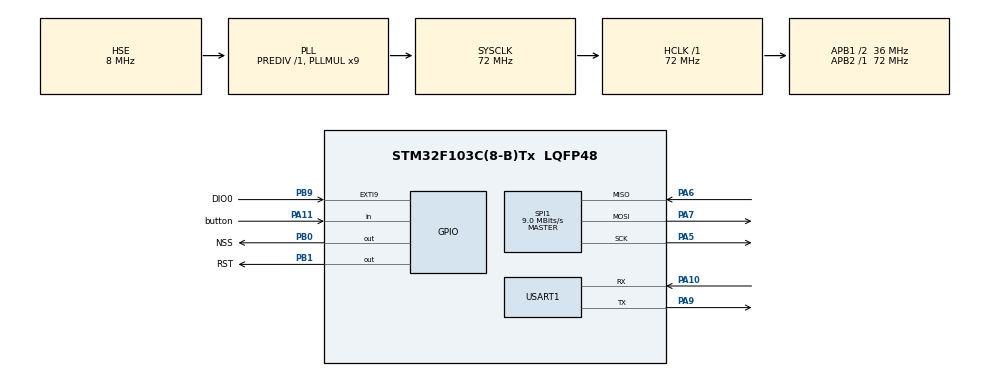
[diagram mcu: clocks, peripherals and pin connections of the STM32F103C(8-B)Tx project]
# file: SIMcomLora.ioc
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FREERTOS.BinarySemaphores01=myBinarySeminterrup,Dynamic,NULL,Depleted
FREERTOS.CountingSemaphores01=myCountingSem01,3,Dynamic,NULL,0;myCountingSem02,3,Dynamic,NULL,0
FREERTOS.Queues01=myQueue01,16,uint16_t,0,Dynamic,NULL,NULL;myQueue02,16,my_Queuedata_t,0,Dynamic,NULL,NULL
FREERTOS.Tasks01=DefaultTask,24,128,StartDefaultTask,Default,NULL,Dynamic,NULL,NULL;LowTask02,8,128,StartTask02,Default,NULL,Dynamic,NULL,NULL;HighTask03,35,128,StartTask03,Default,NULL,Dynamic,NULL,NULL;interruptTask,40,128,StartinterruptTask,Default,NULL,Dynamic,NULL,NULL
FREERTOS.configTOTAL_HEAP_SIZE=3072
FREERTOS.configUSE_NEWLIB_REENTRANT=1
Mcu.Family=STM32F1
Mcu.Name=STM32F103C(8-B)Tx
Mcu.Package=LQFP48
NVIC.EXTI9_5_IRQn=true\:5\:0\:false\:false\:true\:true\:true\:true\:true
NVIC.PriorityGroup=NVIC_PRIORITYGROUP_4
NVIC.TIM1_UP_IRQn=true\:15\:0\:false\:false\:true\:false\:false\:true\:true
NVIC.TimeBase=TIM1_UP_IRQn
NVIC.TimeBaseIP=TIM1
PA0-WKUP.Mode=SYS_WakeUp0
PA0-WKUP.Signal=SYS_WKUP
PA10.Mode=Asynchronous
PA10.Signal=USART1_RX
PA11.GPIO_Label=button
PA11.GPIO_Mode=GPIO_MODE_INPUT
PA11.Signal=GPIO_Input
PA13.Mode=Serial_Wire
PA13.Signal=SYS_JTMS-SWDIO
PA14.Mode=Serial_Wire
PA14.Signal=SYS_JTCK-SWCLK
PA5.Mode=Full_Duplex_Master
PA5.Signal=SPI1_SCK
PA6.Mode=Full_Duplex_Master
PA6.Signal=SPI1_MISO
PA7.Mode=Full_Duplex_Master
PA7.Signal=SPI1_MOSI
PA9.Mode=Asynchronous
PA9.Signal=USART1_TX
PB0.GPIO_Label=NSS
PB0.PinState=GPIO_PIN_SET
PB0.Signal=GPIO_Output
PB1.GPIO_Label=RST
PB1.PinState=GPIO_PIN_SET
PB1.Signal=GPIO_Output
PB9.GPIO_Label=DIO0
PB9.GPIO_ModeDefaultEXTI=GPIO_MODE_IT_FALLING
PB9.GPIO_PuPd=GPIO_PULLUP
PB9.Signal=GPXTI9
PD0-OSC_IN.Mode=HSE-External-Oscillator
PD0-OSC_IN.Signal=RCC_OSC_IN
PD1-OSC_OUT.Mode=HSE-External-Oscillator
PD1-OSC_OUT.Signal=RCC_OSC_OUT
ProjectManager.HeapSize=0x200
ProjectManager.StackSize=0x400
ProjectManager.TargetToolchain=STM32CubeIDE
RCC.AHBFreq_Value=72000000
RCC.APB1CLKDivider=RCC_HCLK_DIV2
RCC.APB1Freq_Value=36000000
RCC.APB1TimFreq_Value=72000000
RCC.APB2Freq_Value=72000000
RCC.APB2TimFreq_Value=72000000
RCC.HCLKFreq_Value=72000000
RCC.PLLMUL=RCC_PLL_MUL9
RCC.PLLSourceVirtual=RCC_PLLSOURCE_HSE
RCC.SYSCLKFreq_VALUE=72000000
RCC.SYSCLKSource=RCC_SYSCLKSOURCE_PLLCLK
RCC.USBFreq_Value=72000000
SPI1.BaudRatePrescaler=SPI_BAUDRATEPRESCALER_8
SPI1.CalculateBaudRate=9.0 MBits/s
SPI1.Direction=SPI_DIRECTION_2LINES
SPI1.Mode=SPI_MODE_MASTER
SPI1.VirtualType=VM_MASTER
USART1.VirtualMode=VM_ASYNC
VP_FREERTOS_VS_CMSIS_V2.Mode=CMSIS_V2
VP_SYS_VS_tim1.Mode=TIM1
board=custom

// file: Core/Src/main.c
/* USER CODE BEGIN Header */
/**
  ******************************************************************************
  * @file           : main.c
  * @brief          : Main program body
  ******************************************************************************
  * @attention
  *
  * Copyright (c) 2025 STMicroelectronics.
  * All rights reserved.
  *
  * This software is licensed under terms that can be found in the LICENSE file
  * in the root directory of this software component.
  * If no LICENSE file comes with this software, it is provided AS-IS.
  *
  ******************************************************************************
  */
/* USER CODE END Header */
#include "main.h"
#include "cmsis_os.h"

/* USER CODE BEGIN Includes */
#include"stdio.h"
#include"string.h"
#include"LoRa.h"
/* USER CODE END Includes */

/* USER CODE BEGIN PTD */
#define MQTT_BROKER "thingsboard.cloud"
#define MQTT_PORT 1883
#define client_ID "t6xqg0v96t1p9wtc9l2l"// Id của divices Thingsboard
#define User_name "13f8dni4utb650o7aduh"//User_name của divices Thingsboard
#define Pass "c0cu7lr7fbntrqkfok6k"// Pass của divices Thingsboard
char  Topic[50]= "v1/devices/me/telemetry";
uint16_t count=0;
uint8_t data[]="hello";
uint8_t dataRX;
uint8_t buff[50];
char dataID[100];
uint8_t dataRxloRa;
uint8_t dataSent[]="hello";
char data_json[50];
uint8_t temperature=35;
uint8_t humidity=65;
osStatus_t status1;
osStatus_t status2;
LoRa myLoRa;
uint8_t Lora_status;
uint8_t ID= '1';
typedef struct {
	uint16_t data;
	uint16_t ID;
}my_Queuedata_t;

/* USER CODE END PTD */

SPI_HandleTypeDef hspi1;

UART_HandleTypeDef huart1;

/* Definitions for DefaultTask */
osThreadId_t DefaultTaskHandle;
const osThreadAttr_t DefaultTask_attributes = {
  .name = "DefaultTask",
  .stack_size = 128 * 4,
  .priority = (osPriority_t) osPriorityNormal,
};
/* Definitions for LowTask02 */
osThreadId_t LowTask02Handle;
const osThreadAttr_t LowTask02_attributes = {
  .name = "LowTask02",
  .stack_size = 128 * 4,
  .priority = (osPriority_t) osPriorityLow,
};
/* Definitions for HighTask03 */
osThreadId_t HighTask03Handle;
const osThreadAttr_t HighTask03_attributes = {
  .name = "HighTask03",
  .stack_size = 128 * 4,
  .priority = (osPriority_t) osPriorityAboveNormal3,
};
/* Definitions for interruptTask */
osThreadId_t interruptTaskHandle;
const osThreadAttr_t interruptTask_attributes = {
  .name = "interruptTask",
  .stack_size = 128 * 4,
  .priority = (osPriority_t) osPriorityHigh,
};
/* Definitions for myQueue01 */
osMessageQueueId_t myQueue01Handle;
const osMessageQueueAttr_t myQueue01_attributes = {
  .name = "myQueue01"
};
/* Definitions for myQueue02 */
osMessageQueueId_t myQueue02Handle;
const osMessageQueueAttr_t myQueue02_attributes = {
  .name = "myQueue02"
};
/* Definitions for myBinarySeminterrup */
osSemaphoreId_t myBinarySeminterrupHandle;
const osSemaphoreAttr_t myBinarySeminterrup_attributes = {
  .name = "myBinarySeminterrup"
};
/* Definitions for myCountingSem01 */
osSemaphoreId_t myCountingSem01Handle;
const osSemaphoreAttr_t myCountingSem01_attributes = {
  .name = "myCountingSem01"
};
/* Definitions for myCountingSem02 */
osSemaphoreId_t myCountingSem02Handle;
const osSemaphoreAttr_t myCountingSem02_attributes = {
  .name = "myCountingSem02"
};
/* USER CODE BEGIN PV */
int __io_putchar(int ch) {
    HAL_UART_Transmit(&huart1, (uint8_t *)&ch, 1, HAL_MAX_DELAY);
    return ch;
}
/*
void Task_action(char message){
	ITM_sendchar(message);
	ITM_sendchar('\n');
}
*/
/* USER CODE END PV */

void SystemClock_Config(void);
static void MX_GPIO_Init(void);
static void MX_SPI1_Init(void);
static void MX_USART1_UART_Init(void);
void StartDefaultTask(void *argument);
void StartTask02(void *argument);
void StartTask03(void *argument);
void StartinterruptTask(void *argument);

/* USER CODE BEGIN PFP */
//void process(){
//	LoRa_receive(&myLoRa,&dataRxloRa,sizeof(dataRxloRa));
//	if (dataRxloRa==ID){
//		LoRa_transmit(&myLoRa,dataSent,sizeof(dataSent),200);
//		printf("Lora_transmited");
//	}printf("Lora not receive");
//}
/* Gửi lệnh AT qua UART */
void sendATCommand(const char *cmd, uint32_t delay_ms) {
    HAL_UART_Transmit(&huart1, (uint8_t *)cmd, strlen(cmd), 100);
    HAL_Delay(delay_ms);

}
/* 1 Kết nối GPRS */
void connectToGPRS() {
    sendATCommand("AT+CREG=1\r\n", 1000);
}
void connectToMQTT() {
    sendATCommand("AT+CMQTTSTART\r\n", 2000);
    sprintf(dataID,"AT+CMQTTACCQ=0,\"%s\",0\r\n",client_ID);
    sendATCommand(dataID, 1000);
    char mqtt_conn_cmd[128];
    sprintf(mqtt_conn_cmd, "AT+CMQTTCONNECT=0,\"tcp://%s:%d\",60,1,\"%s\",\"%s\"\r\n", MQTT_BROKER, MQTT_PORT,User_name,Pass );
    sendATCommand(mqtt_conn_cmd, 5000);
}
void publishToMQTT() {
	char Topic_t[100];
	char Payload[100];
	sprintf(Topic,"v1/devices/me/telemetry%s","\r\n");
	sprintf(Topic_t,"AT+CMQTTTOPIC=0,%d\r\n",strlen(Topic)-2);
	sendATCommand(Topic_t,500);
    sendATCommand(Topic, 500);
    sprintf(data_json,"{\"temperature\":%d,\"humidity\":%d}\r\n",temperature,humidity);
    sprintf(Payload,"AT+CMQTTPAYLOAD=0,%d\r\n",strlen(data_json)-2);
    sendATCommand(Payload,500);
    sendATCommand(data_json,1000);
    sendATCommand("AT+CMQTTPUB=0,1,60\r\n", 1000);
}
/* USER CODE END PFP */

int main(void)
{

  /* MCU Configuration--------------------------------------------------------*/

  /* Reset of all peripherals, Initializes the Flash interface and the Systick. */
  HAL_Init();

  /* Configure the system clock */
  SystemClock_Config();

  /* USER CODE BEGIN SysInit */
	HAL_UART_Transmit_IT(&huart1,&dataRX,sizeof(dataRX));
  /* USER CODE END SysInit */

  /* Initialize all configured peripherals */
  MX_GPIO_Init();
  MX_SPI1_Init();
  MX_USART1_UART_Init();
  /* USER CODE BEGIN 2 */
  myLoRa = newLoRa();

  	myLoRa.frequency             = 434;             // default = 433 MHz
  	myLoRa.spredingFactor        = SF_9;            // default = SF_7
  	myLoRa.bandWidth             = BW_250KHz;       // default = BW_125KHz
  	myLoRa.crcRate               = CR_4_8;          // default = CR_4_5
  	myLoRa.power                 = POWER_17db;      // default = 20db
  	myLoRa.overCurrentProtection = 130;             // default = 100 mA
  	myLoRa.preamble              = 10;              // default = 8;

  	myLoRa.CS_port         = NSS_GPIO_Port;
  	myLoRa.CS_pin          = NSS_Pin;
  	myLoRa.reset_port      = RST_GPIO_Port;
  	myLoRa.reset_pin       = RST_Pin;
  	myLoRa.DIO0_port       = DIO0_GPIO_Port;
  	myLoRa.DIO0_pin        = DIO0_Pin;
  	myLoRa.hSPIx           = &hspi1;
  	Lora_status = LoRa_init(&myLoRa);
  	LoRa_startReceiving(&myLoRa);
  	connectToMQTT();
  /* USER CODE END 2 */

  /* Init scheduler */
  osKernelInitialize();

  /* Create the semaphores(s) */
  /* creation of myBinarySeminterrup */
  myBinarySeminterrupHandle = osSemaphoreNew(1, 0, &myBinarySeminterrup_attributes);

  /* creation of myCountingSem01 */
  myCountingSem01Handle = osSemaphoreNew(3, 0, &myCountingSem01_attributes);

  /* creation of myCountingSem02 */
  myCountingSem02Handle = osSemaphoreNew(3, 0, &myCountingSem02_attributes);

  /* Create the queue(s) */
  /* creation of myQueue01 */
  myQueue01Handle = osMessageQueueNew (16, sizeof(uint16_t), &myQueue01_attributes);

  /* creation of myQueue02 */
  myQueue02Handle = osMessageQueueNew (16, sizeof(my_Queuedata_t), &myQueue02_attributes);

  /* Create the thread(s) */
  /* creation of DefaultTask */
  DefaultTaskHandle = osThreadNew(StartDefaultTask, NULL, &DefaultTask_attributes);

  /* creation of LowTask02 */
  LowTask02Handle = osThreadNew(StartTask02, NULL, &LowTask02_attributes);

  /* creation of HighTask03 */
  HighTask03Handle = osThreadNew(StartTask03, NULL, &HighTask03_attributes);

  /* creation of interruptTask */
  interruptTaskHandle = osThreadNew(StartinterruptTask, NULL, &interruptTask_attributes);

  /* Start scheduler */
  osKernelStart();

  /* We should never get here as control is now taken by the scheduler */

  /* Infinite loop */
  while (1)
  {

  }
}

void SystemClock_Config(void)
{
  RCC_OscInitTypeDef RCC_OscInitStruct = {0};
  RCC_ClkInitTypeDef RCC_ClkInitStruct = {0};

  /** Initializes the RCC Oscillators according to the specified parameters
  * in the RCC_OscInitTypeDef structure.
  */
  RCC_OscInitStruct.OscillatorType = RCC_OSCILLATORTYPE_HSE;
  RCC_OscInitStruct.HSEState = RCC_HSE_ON;
  RCC_OscInitStruct.HSEPredivValue = RCC_HSE_PREDIV_DIV1;
  RCC_OscInitStruct.HSIState = RCC_HSI_ON;
  RCC_OscInitStruct.PLL.PLLState = RCC_PLL_ON;
  RCC_OscInitStruct.PLL.PLLSource = RCC_PLLSOURCE_HSE;
  RCC_OscInitStruct.PLL.PLLMUL = RCC_PLL_MUL9;
  if (HAL_RCC_OscConfig(&RCC_OscInitStruct) != HAL_OK)
  {
    Error_Handler();
  }

  /** Initializes the CPU, AHB and APB buses clocks
  */
  RCC_ClkInitStruct.ClockType = RCC_CLOCKTYPE_HCLK|RCC_CLOCKTYPE_SYSCLK
                              |RCC_CLOCKTYPE_PCLK1|RCC_CLOCKTYPE_PCLK2;
  RCC_ClkInitStruct.SYSCLKSource = RCC_SYSCLKSOURCE_PLLCLK;
  RCC_ClkInitStruct.AHBCLKDivider = RCC_SYSCLK_DIV1;
  RCC_ClkInitStruct.APB1CLKDivider = RCC_HCLK_DIV2;
  RCC_ClkInitStruct.APB2CLKDivider = RCC_HCLK_DIV1;

  if (HAL_RCC_ClockConfig(&RCC_ClkInitStruct, FLASH_LATENCY_2) != HAL_OK)
  {
    Error_Handler();
  }
}

static void MX_SPI1_Init(void)
{

  /* SPI1 parameter configuration*/
  hspi1.Instance = SPI1;
  hspi1.Init.Mode = SPI_MODE_MASTER;
  hspi1.Init.Direction = SPI_DIRECTION_2LINES;
  hspi1.Init.DataSize = SPI_DATASIZE_8BIT;
  hspi1.Init.CLKPolarity = SPI_POLARITY_LOW;
  hspi1.Init.CLKPhase = SPI_PHASE_1EDGE;
  hspi1.Init.NSS = SPI_NSS_SOFT;
  hspi1.Init.BaudRatePrescaler = SPI_BAUDRATEPRESCALER_8;
  hspi1.Init.FirstBit = SPI_FIRSTBIT_MSB;
  hspi1.Init.TIMode = SPI_TIMODE_DISABLE;
  hspi1.Init.CRCCalculation = SPI_CRCCALCULATION_DISABLE;
  hspi1.Init.CRCPolynomial = 10;
  if (HAL_SPI_Init(&hspi1) != HAL_OK)
  {
    Error_Handler();
  }

}

static void MX_USART1_UART_Init(void)
{

  huart1.Instance = USART1;
  huart1.Init.BaudRate = 115200;
  huart1.Init.WordLength = UART_WORDLENGTH_8B;
  huart1.Init.StopBits = UART_STOPBITS_1;
  huart1.Init.Parity = UART_PARITY_NONE;
  huart1.Init.Mode = UART_MODE_TX_RX;
  huart1.Init.HwFlowCtl = UART_HWCONTROL_NONE;
  huart1.Init.OverSampling = UART_OVERSAMPLING_16;
  if (HAL_UART_Init(&huart1) != HAL_OK)
  {
    Error_Handler();
  }

}

static void MX_GPIO_Init(void)
{
  GPIO_InitTypeDef GPIO_InitStruct = {0};

  /* GPIO Ports Clock Enable */
  __HAL_RCC_GPIOD_CLK_ENABLE();
  __HAL_RCC_GPIOA_CLK_ENABLE();
  __HAL_RCC_GPIOB_CLK_ENABLE();

  /*Configure GPIO pin Output Level */
  HAL_GPIO_WritePin(GPIOB, NSS_Pin|RST_Pin, GPIO_PIN_SET);

  /*Configure GPIO pins : NSS_Pin RST_Pin */
  GPIO_InitStruct.Pin = NSS_Pin|RST_Pin;
  GPIO_InitStruct.Mode = GPIO_MODE_OUTPUT_PP;
  GPIO_InitStruct.Pull = GPIO_NOPULL;
  GPIO_InitStruct.Speed = GPIO_SPEED_FREQ_LOW;
  HAL_GPIO_Init(GPIOB, &GPIO_InitStruct);

  /*Configure GPIO pin : button_Pin */
  GPIO_InitStruct.Pin = button_Pin;
  GPIO_InitStruct.Mode = GPIO_MODE_INPUT;
  GPIO_InitStruct.Pull = GPIO_NOPULL;
  HAL_GPIO_Init(button_GPIO_Port, &GPIO_InitStruct);

  /*Configure GPIO pin : DIO0_Pin */
  GPIO_InitStruct.Pin = DIO0_Pin;
  GPIO_InitStruct.Mode = GPIO_MODE_IT_FALLING;
  GPIO_InitStruct.Pull = GPIO_PULLUP;
  HAL_GPIO_Init(DIO0_GPIO_Port, &GPIO_InitStruct);

  /* EXTI interrupt init*/
  HAL_NVIC_SetPriority(EXTI9_5_IRQn, 5, 0);
  HAL_NVIC_EnableIRQ(EXTI9_5_IRQn);

}

void StartDefaultTask(void *argument)
{
  /* USER CODE BEGIN 5 */

  /* Infinite loop */
  for(;;)
  {
	  publishToMQTT();
	  osDelay(1000);
  }
  /* USER CODE END 5 */
}

void StartTask02(void *argument)
{
  /* USER CODE BEGIN StartTask02 */
  /* Infinite loop */
 /*my_Queuedata_t msg={
		 .ID=234
 };
*/
  for(;;)
  {
	  LoRa_transmit(&myLoRa,dataSent,sizeof(dataSent),100);
	 // osSemaphoreAcquire(myBinarySem01Handle,osWaitForever);

	/*	printf("@%lu: %s Enter!\n",osKernelGetTickCount(),LowTask02_attributes.name);
	  	count2--;
		printf("@%lu:Put ID:[%d],data:[%d] to %s\n",osKernelGetTickCount(),msg.ID,msg.data,myQueue02_attributes.name);
		osMessageQueuePut(myQueue02Handle,&msg,0,0);
	//	while(HAL_GPIO_ReadPin(button_GPIO_Port,button_Pin)==GPIO_PIN_SET);
		printf("@%lu:%s Exit\n\n",osKernelGetTickCount(),LowTask02_attributes.name);
	//	osSemaphoreRelease(myBinarySem01Handle);
	    osDelay(500);
	    */
	  osDelay(1000);
  }
  /* USER CODE END StartTask02 */
}

void StartTask03(void *argument)
{
  /* USER CODE BEGIN StartTask03 */
//my_Queuedata_t msg;
  /* Infinite loop */
  for(;;)
  {

//	  osSemaphoreAcquire(myCountingSem01Handle,osWaitForever);
//	//  count3++;
//	printf("@%lu:%sEnter!\n",osKernelGetTickCount(),HighTask03_attributes.name);
////	process();
// //   osMessageQueueGet(myQueue02Handle,&msg,0,osWaitForever);
// //   printf("@ %lu :%s Get ID:[%d],data:[%d] From %s\n",osKernelGetTickCount(),HighTask03_attributes.name,msg.ID,msg.data,myQueue02_attributes.name);
//    printf("@ %lu :%s Exit!\n\n",osKernelGetTickCount(),HighTask03_attributes.name);
//  //  osSemaphoreRelease(myBinarySem01Handle);
	 osDelay(1000);
  }
  /* USER CODE END StartTask03 */
}

void StartinterruptTask(void *argument)
{
  /* USER CODE BEGIN StartinterruptTask */
  /* Infinite loop */
	//my_Queuedata_t msg;
  for(;;)
  {
	  /*
	 osSemaphoreAcquire(myBinarySeminterrupHandle,osWaitForever);
	 printf("@%lu:%s Enter!\n",osKernelGetTickCount(),interruptTask_attributes.name);
	 printf("@%lu:%s Exit!\n",osKernelGetTickCount(),interruptTask_attributes.name);

  	  osMessageQueueGet(myQueue02Handle,&msg,0,osWaitForever);
	  printf("@%lu: %s Enter\n",osKernelGetTickCount(),interruptTask_attributes.name);
	  printf("@%lu: %s Get ID:[%d],data:[%d] from %s",osKernelGetTickCount(),interruptTask_attributes.name,msg.ID,msg.data,myQueue02_attributes.name);
	  printf("@%lu: %s Exit!",osKernelGetTickCount(),interruptTask_attributes.name);
  	  osDelay(10000);
	 osSemaphoreRelease(myBinarySeminterrupHandle);
	 */
  }
  /* USER CODE END StartinterruptTask */
}

void HAL_TIM_PeriodElapsedCallback(TIM_HandleTypeDef *htim)
{
  if (htim->Instance == TIM1)
  {
    HAL_IncTick();
  }
  /* USER CODE BEGIN Callback 1 */
}
	HAL_UART_RxCpltCallback( UART_HandleTypeDef* huart){
		if(huart->Instance==USART1){
			buff[count++]=dataRX;
			if(dataRX=='\n'){
				count=0;
			}
			HAL_UART_Transmit_IT(&huart1,&dataRX,sizeof(dataRX));
		}
	}
   void HAL_GPIO_EXTI_Callback(uint16_t GPIO_Pin){
	   if(GPIO_Pin==DIO0_Pin){
		   printf("di vao ngat va giai phong semaphore\n");
		   osSemaphoreRelease(myCountingSem01Handle);

		  // HAL_Delay(500);
	   }
  /* USER CODE END Callback 1 */
}

void Error_Handler(void)
{
  __disable_irq();
  while (1)
  {
  }
}
